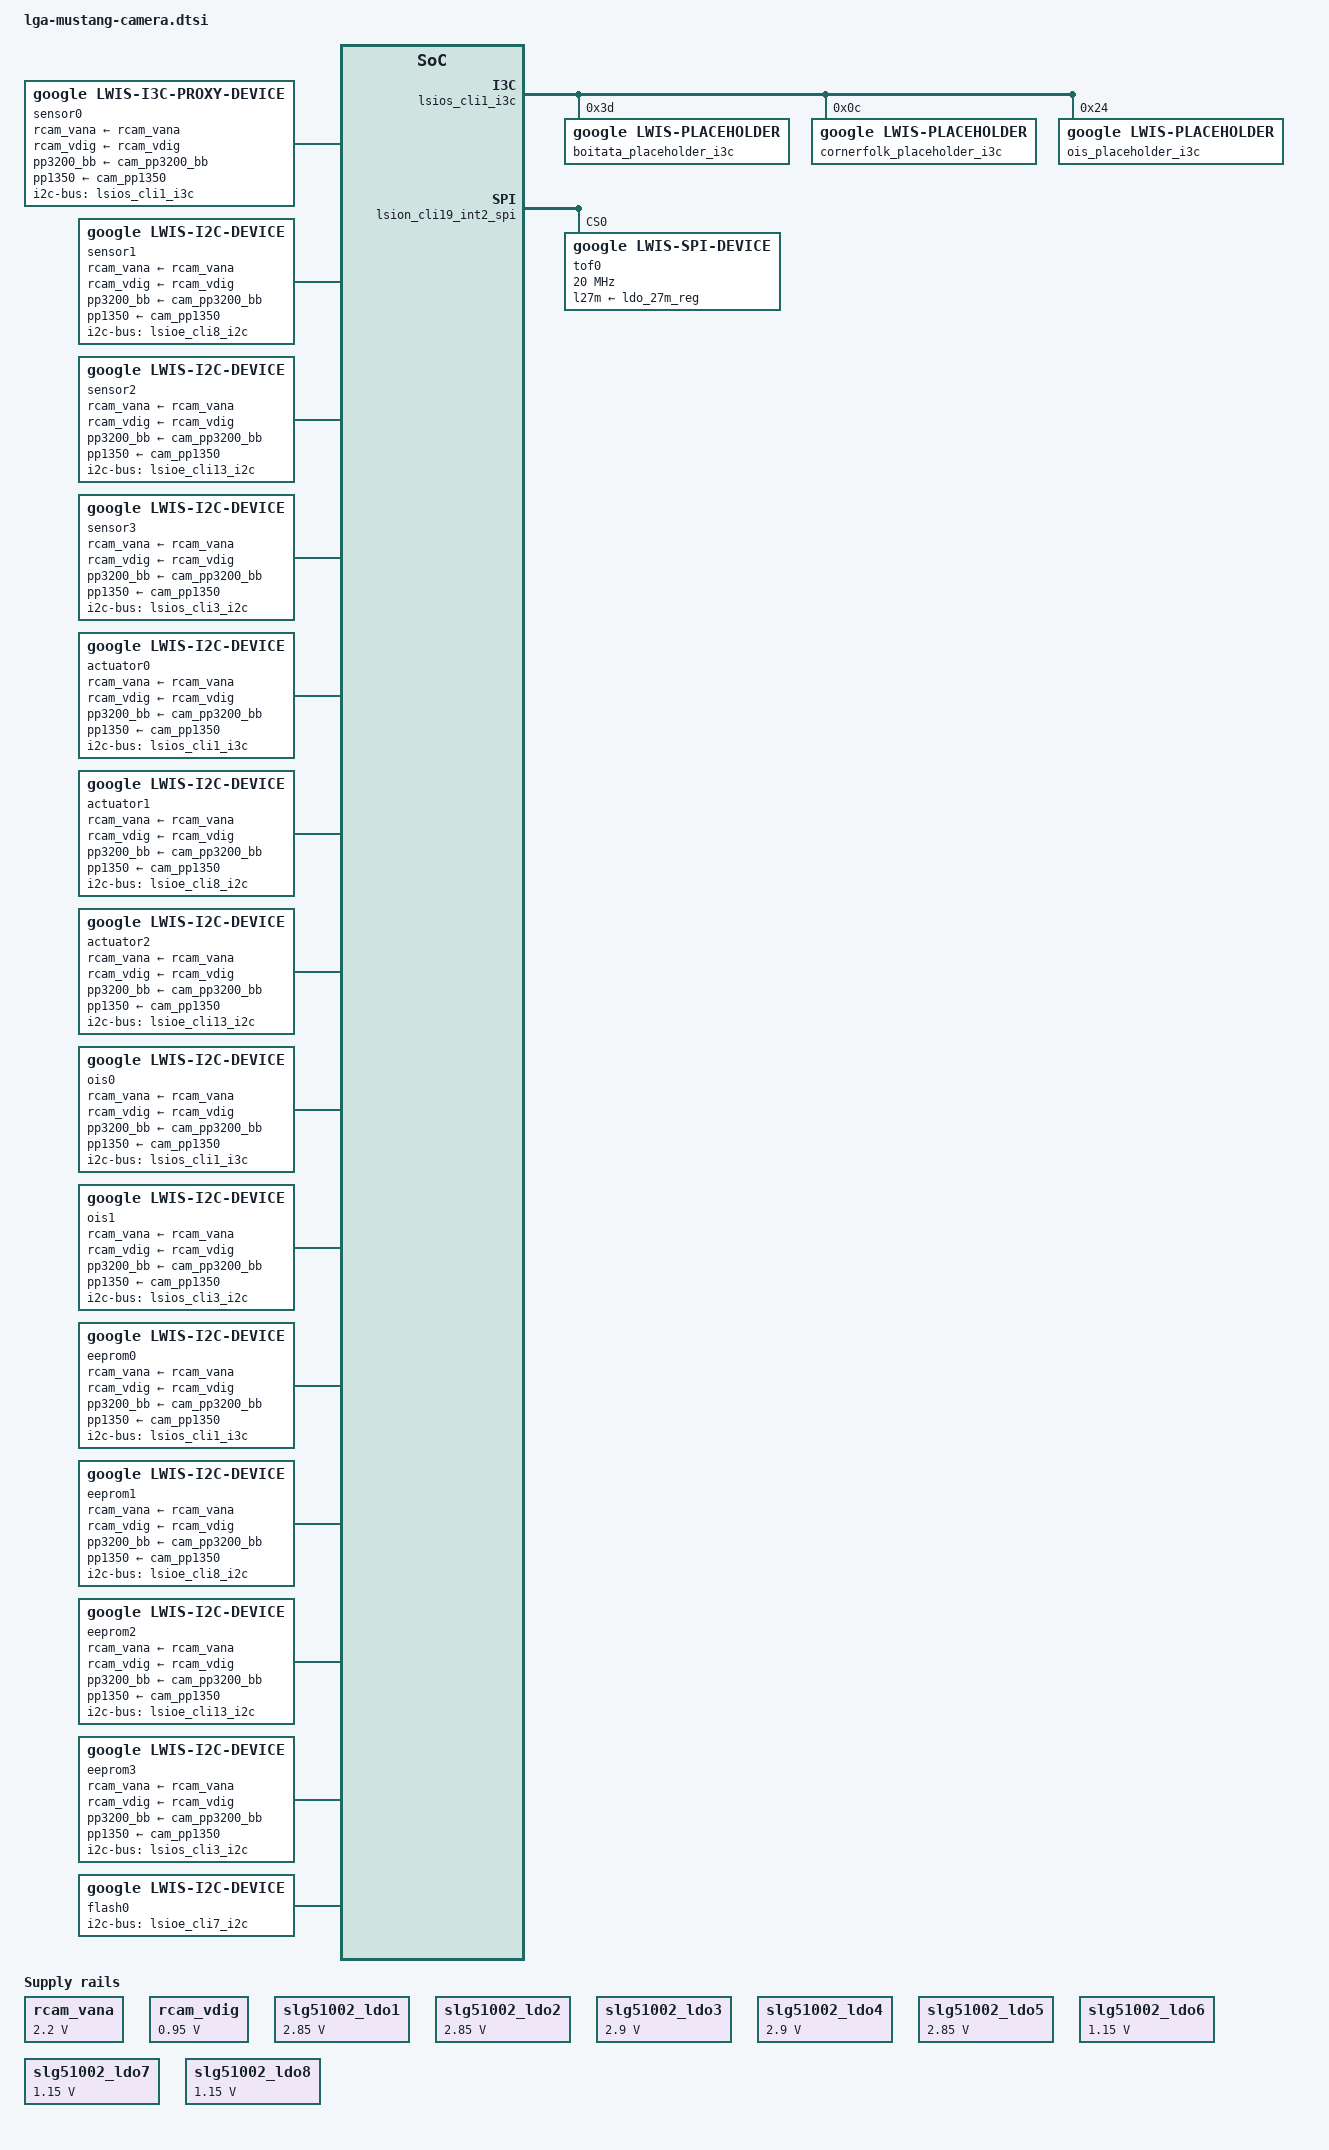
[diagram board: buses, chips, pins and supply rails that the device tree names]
// SPDX-License-Identifier: GPL-2.0-only
/*
 * camera lwis device tree for Mustang
 *
 * Copyright 2024 Google LLC.
 *
 */

#include <dt-bindings/gpio/gpio.h>
#include <dt-bindings/interrupt-controller/irq.h>
#include <dt-bindings/lwis/platform/laguna/tof.h>

&slg51002_ldo1 {
	regulator-min-microvolt = <2850000>;
	regulator-max-microvolt = <2850000>;
};

&slg51002_ldo2 {
	regulator-min-microvolt = <2850000>;
	regulator-max-microvolt = <2850000>;
};

&slg51002_ldo3 {
	regulator-min-microvolt = <2900000>;
	regulator-max-microvolt = <2900000>;
};

&slg51002_ldo4 {
	regulator-min-microvolt = <2900000>;
	regulator-max-microvolt = <2900000>;
};

&slg51002_ldo5 {
	regulator-min-microvolt = <2850000>;
	regulator-max-microvolt = <2850000>;
};

&slg51002_ldo6 {
	regulator-min-microvolt = <1150000>;
	regulator-max-microvolt = <1150000>;
};

&slg51002_ldo7 {
	regulator-min-microvolt = <1150000>;
	regulator-max-microvolt = <1150000>;
};

&slg51002_ldo8 {
	regulator-min-microvolt = <1150000>;
	regulator-max-microvolt = <1150000>;
};

/* Apply different drive strength with BZ5 */

/* REAR ULTRA WIDE CAMERA TAOTIE */
&sensor_mclk1_out {
	drive-strength = <2>;
};
&sensor_mclk1_fn {
	drive-strength = <2>;
};
/* REAR CAMERA BOITATA */
&sensor_mclk2_out {
	drive-strength = <3>;
};
&sensor_mclk2_fn {
	drive-strength = <3>;
};
/* FRONT CAMERA TAOTIE */
&sensor_mclk3_out {
	drive-strength = <2>;
};
&sensor_mclk3_fn {
	drive-strength = <2>;
};
/* REAR TELE CAMERA TAOTIE */
&sensor_mclk6_out {
	drive-strength = <2>;
};
&sensor_mclk6_fn {
	drive-strength = <2>;
};

&lsios_cli1_i3c {
	/* Lwis placeholder for RCAM */
	boitata_placeholder_i3c: boitata_placeholder_i3c@0 {
		compatible = "google,lwis-placeholder";
		/* I2C */
		reg = <0x3D 0x0 0x20>;
	};
	cornerfolk_placeholder_i3c: cornerfolk_placeholder_i3c@0 {
		compatible = "google,lwis-placeholder";
		/* I2C */
		reg = <0xC 0x0 0x20>;
	};
	ois_placeholder_i3c: ois_placeholder_i3c@0 {
		compatible = "google,lwis-placeholder";
		/* I2C */
		reg = <0x24 0x0 0x20>;
	};
};

&lsioe_cli13_i2c {
	i2c-sda-falling-time-ns = <25>;
	i2c-scl-falling-time-ns = <200>;
};

&lsion_cli19_int2_spi {
	google,spi-gpio-cs-with-cpol-high;

	tof0: tof@0 {
		status = "okay";
		compatible = "google,lwis-spi-device";

		/* SPI_CONFIG */
		reg = <0>;
		rx-sample-delay-ns = <25>;
		spi-max-frequency = <20000000>;
		spi-cpol;
		spi-cpha;

		/* Device node name */
		node-name = "tof-tarasque";

		/* Registers */
		reg-addr-bitwidth = <16>;
		reg-value-bitwidth = <8>;

		/* MCLK Control */
		/* LWIS DT parser explicitly requires mclk_on pinctrl */
		pinctrl-names = "default", "mclk_on", "mclk_off";
		pinctrl-0 = <&ldaf2aoc_irq_od_l_1v2>;
		pinctrl-1 = <&ldaf2aoc_irq_od_l_1v2>;
		pinctrl-2 = <>;

		irq-gpios = <LDAF2AOC_IRQ_OD_L_1V2(GPIO_ACTIVE_LOW)>;
		irq-gpios-names = "tof-irq";
		irq-gpios-events = <LWIS_PLATFORM_EVENT_ID_TOF_DATA_POLLING>;
		irq-gpios-types = <IRQ_TYPE_EDGE_FALLING>;

		/* Power supplies */
		/* VADD 3.3V */
		l27m-supply = <&ldo_27m_reg>;

		/* Power up sequence */
		power-up-seqs =
			"l27m",
			"mclk_on";
		power-up-seq-types =
			"regulator",
			"pinctrl";
		power-up-seq-delays-us =
			<0
			 1000>;

		/* Power down sequence */
		power-down-seqs =
			"mclk_off",
			"l27m";
		power-down-seq-types =
			"pinctrl",
			"regulator";
		power-down-seq-delays-us =
			<0
			 0>;

		/* Thread priority */
		/* This is made to be lower than image sensor's thread */
		/* thread priority to allow uninterrupted image sensor */
		/* operation during periods of high CPU contention. */
		transaction-thread-priority = <100>;
	};
};

/ {
	fragment@rcam_supply {
		target-path = "/";
		__overlay__ {
			rcam_vana: rcam_supply@0 {
				compatible = "regulator-fixed";
				status = "okay";
				regulator-name = "PP2200_RCAM_ANA";
				regulator-min-microvolt = <2200000>;
				regulator-max-microvolt = <2200000>;
				/* 1ms */
				regulator-enable-ramp-delay = <1000>;
				enable-active-high;
				/* VANA_EN */
				gpio = <PMICM2RCAM_VANA_EN(GPIO_ACTIVE_HIGH)>;
			};

			rcam_vdig: rcam_supply@1 {
				compatible = "regulator-fixed";
				status = "okay";
				regulator-name = "PP0950_RCAM";
				regulator-min-microvolt = <950000>;
				regulator-max-microvolt = <950000>;
				/* 2ms */
				regulator-enable-ramp-delay = <2000>;
				enable-active-high;
				/* VDIG_EN */
				gpio = <PMICM2RCAM_VDIG_EN(GPIO_ACTIVE_HIGH)>;
			};
		};
	};
};

/ {
	fragment@lwiscamera {
		target-path = "/";
		__overlay__ {
			rear_main_camera_power_seq: module_power_seq@0 {
				/* Common supplies */
				/* PP3200_BB_CAM pp3200_bb */
				/* PP1350_CAM    pp1350 */
				/* Sensor */
				/* VDDIO: ldo_22s_reg */
				/* VDIG: PMICM2RCAM_VDIG_EN */
				/* VDDA: PMICM2RCAM_VANA_EN */
				/* RESET: AP2RCAM_RST_L */
				/* OIS_AVDD: slg51002_ldo4 */
				/* OIS_VM_EN: PMICM2RCAM_OIS_VM_EN */
				/* AF_VM_EN: slg51002_gpio4 */

				power-up-seqs =
					"pp3200_bb",
					"pp1350",
					"rcam_vana",
					"rcam_vdig",
					"vio",
					"ldo4",
					"gpio4",
					"ois_enable",
					"mclk_on",
					"vsync_on",
					"resume";
				power-up-seq-types =
					"regulator",
					"regulator",
					"regulator",
					"regulator",
					"regulator",
					"regulator",
					"regulator",
					"gpio",
					"pinctrl",
					"pinctrl",
					"controller";
				power-up-seq-delays-us =
					<0
					 0
					 0
					 0
					 1000
					 0
					 1000
					 0
					 1000
					 0
					 /* AF need 7.1ms (rounded to 8ms) before I2C stable,
					    added the remaining here */
					 6000>;

				power-down-seqs =
					"suspend",
					"vsync_off",
					"mclk_off",
					"ois_enable",
					"gpio4",
					"ldo4",
					"vio",
					"rcam_vdig",
					"rcam_vana",
					"pp1350",
					"pp3200_bb";
				power-down-seq-types =
					"controller",
					"pinctrl",
					"pinctrl",
					"gpio",
					"regulator",
					"regulator",
					"regulator",
					"regulator",
					"regulator",
					"regulator",
					"regulator";
				power-down-seq-delays-us =
					<0
					 0
					 0
					 1000
					 0
					 1000
					 1000
					 1000
					 0
					 2000
					 2000>;
			};

			rear_uw_camera_power_seq: module_power_seq@2 {
				/* Common supplies */
				/* PP3200_BB_CAM pp3200_bb */
				/* PP1350_CAM    pp1350 */
				/* Sensor */
				/* RCAM_VDIG: PMICM2RCAM_VDIG_EN */
				/* RCAM_VDDA: PMICM2RCAM_VANA_EN */
				/* VDDIO: ldo_22s_reg */
				/* VDIG: slg51002_ldo6 */
				/* VDDA: slg51002_ldo2 */
				/* RESET: AP2RUWCAM_RST_L */
				/* AF_VM_EN: slg51002_gpio4 */

				power-up-seqs =
					"pp3200_bb",
					"pp1350",
					"rcam_vana",
					"rcam_vdig",
					"ldo6",
					"ldo2",
					"vio",
					"gpio4",
					"mclk_on",
					"vsync_on",
					"resume";
				power-up-seq-types =
					"regulator",
					"regulator",
					"regulator",
					"regulator",
					"regulator",
					"regulator",
					"regulator",
					"regulator",
					"pinctrl",
					"pinctrl",
					"controller";
				power-up-seq-delays-us =
					<0
					 0
					 0
					 0
					 0
					 0
					 1000
					 0
					 0
					 0
					 /* AF need 7.1ms (rounded to 8ms) before I2C stable,
					    added the remaining here */
					 8000>;

				power-down-seqs =
					"suspend",
					"vsync_off",
					"mclk_off",
					"gpio4",
					"vio",
					"ldo2",
					"ldo6",
					"rcam_vdig",
					"rcam_vana",
					"pp1350",
					"pp3200_bb";
				power-down-seq-types =
					"controller",
					"pinctrl",
					"pinctrl",
					"regulator",
					"regulator",
					"regulator",
					"regulator",
					"regulator",
					"regulator",
					"regulator",
					"regulator";
				power-down-seq-delays-us =
					<0
					 0
					 0
					 1000
					 0
					 0
					 0
					 1000
					 0
					 2000
					 2000>;
			};

			rear_tele_camera_power_seq: module_power_seq@3 {
				/* Common supplies */
				/* PP3200_BB_CAM pp3200_bb */
				/* PP1350_CAM    pp1350 */
				/* Sensor */
				/* RCAM_VDIG: PMICM2RCAM_VDIG_EN */
				/* RCAM_VDDA: PMICM2RCAM_VANA_EN */
				/* VDDIO: ldo_22s_reg */
				/* VDIG: slg51002_ldo7 */
				/* VDDA: slg51002_ldo5 */
				/* RESET: AP2RTCAM_RST_L */
				/* AF_OIS_AVDD: slg51002_ldo4 */
				/* AF_OIS_VM_EN: slg51002_gpio3 */
				/* OIS_RESET: AP2RTCAM_AF_OIS_RST */

				power-up-seqs =
					"pp3200_bb",
					"pp1350",
					"rcam_vana",
					"rcam_vdig",
					"ldo7",
					"ldo5",
					"vio",
					"ldo4",
					"gpio3",
					"oisreset",
					"mclk_on",
					"vsync_on",
					"resume";
				power-up-seq-types =
					"regulator",
					"regulator",
					"regulator",
					"regulator",
					"regulator",
					"regulator",
					"regulator",
					"regulator",
					"regulator",
					"gpio",
					"pinctrl",
					"pinctrl",
					"controller";
				power-up-seq-delays-us =
					<0
					 0
					 0
					 0
					 0
					 0
					 1000
					 1000
					 1500
					 0
					 0
					 0
					 0>;

				power-down-seqs =
					"suspend",
					"vsync_off",
					"mclk_off",
					"oisreset",
					"gpio3",
					"ldo4",
					"vio",
					"ldo5",
					"ldo7",
					"rcam_vdig",
					"rcam_vana",
					"pp1350",
					"pp3200_bb";
				power-down-seq-types =
					"controller",
					"pinctrl",
					"pinctrl",
					"gpio",
					"regulator",
					"regulator",
					"regulator",
					"regulator",
					"regulator",
					"regulator",
					"regulator",
					"regulator",
					"regulator";
				power-down-seq-delays-us =
					<0
					 0
					 0
					 0
					 1000
					 4000
					 0
					 0
					 0
					 1000
					 0
					 2000
					 2000>;
			};

			front_camera_power_seq: module_power_seq@4 {
				/* Common supplies */
				/* PP3200_BB_CAM     pp3200_bb */
				/* PP1350_CAM        pp1350 */
				/* Sensor */
				/* RCAM_VDIG: PMICM2RCAM_VDIG_EN */
				/* RCAM_VDDA: PMICM2RCAM_VANA_EN */
				/* VDDIO: ldo_22s_reg */
				/* VDIG: slg51002_ldo8 */
				/* VDDA: slg51002_ldo1 */
				/* RESET: AP2FCAM_RST_L */
				/* AF_VM_EN: slg51002_ldo3 */

				power-up-seqs =
					"pp3200_bb",
					"pp1350",
					"rcam_vana",
					"rcam_vdig",
					"ldo1",
					"ldo8",
					"vio",
					"ldo3",
					"reset",
					"mclk_on",
					"vsync_on",
					"resume";
				power-up-seq-types =
					"regulator",
					"regulator",
					"regulator",
					"regulator",
					"regulator",
					"regulator",
					"regulator",
					"regulator",
					"gpio",
					"pinctrl",
					"pinctrl",
					"controller";
				power-up-seq-delays-us =
					<0
					 0
					 0
					 0
					 0
					 0
					 1000
					 0
					 0
					 6000
					 0
					 /* AF need 7.1ms (rounded to 8ms) before I2C stable,
					    added the remaining here */
					 2000>;

				power-down-seqs =
					"suspend",
					"vsync_off",
					"mclk_off",
					"reset",
					"ldo3",
					"vio",
					"ldo8",
					"ldo1",
					"rcam_vdig",
					"rcam_vana",
					"pp1350",
					"pp3200_bb";
				power-down-seq-types =
					"controller",
					"pinctrl",
					"pinctrl",
					"gpio",
					"regulator",
					"regulator",
					"regulator",
					"regulator",
					"regulator",
					"regulator",
					"regulator",
					"regulator";
				power-down-seq-delays-us =
					<0
					 0
					 0
					 0
					 1000
					 0
					 0
					 0
					 1000
					 0
					 2000
					 2000>;
			};

			/* REAR CAMERA BOITATA CSIB */
			sensor0: sensor@0 {
				compatible = "google,lwis-i3c-proxy-device";

				/* Device node name */
				node-name = "sensor-boitata";

				/* I2C */
				i2c-bus = <&lsios_cli1_i3c>;
				i2c-addr = <0x3D>;
				/* I3C */
				i3c-enabled;
				i3c-dcr = <130>;

				/* Registers */
				reg-addr-bitwidth = <16>;
				reg-value-bitwidth = <16>;

				 /* I2C OTP settings (reg, val) */
				i2c-otp-settings =
					<0xFCFC 0x4000
					 0x6012 0x0001
					 0x7002 0x0008
					 0x6014 0x0001>;
				i2c-otp-settle-time = <10000>;

				/* I3C OTP settings (reg, val) */
				i3c-otp-settings =
					<0xFCFC 0x4000
					 0x6012 0x0001
					 0x7002 0x1008
					 0x6066 0x0216
					 0x6068 0x08EF
					 0x6014 0x0001>;
				i3c-otp-settle-time = <10000>;
				/* I3C IBI */
				ibi-max-payload-len = <3>;
				ibi-num-slots = <8>;

				/* GPIOs */
				/* OIS_VM */
				ois_enable-gpios = <PMICM2RCAM_OIS_VM_EN(GPIO_ACTIVE_HIGH)>;
				/* RCAM_RST_L */
				reset-gpios = <AP2RCAM_RST_L(GPIO_ACTIVE_HIGH)>;

				/* Power supplies */
				rcam_vana-supply = <&rcam_vana>;
				rcam_vdig-supply = <&rcam_vdig>;
				pp3200_bb-supply = <&cam_pp3200_bb>;
				pp1350-supply = <&cam_pp1350>;
				vio-supply = <&ldo_22s_reg>;  /* VDDIO */
				ldo4-supply = <&slg51002_ldo4>; /* OIS_AVDD30 */
				gpio4-supply = <&slg51002_gpio4>; /* AF_VM */

				clocks = <&lsios_mclk2_clk>;
				clock-names = "MCLK2";
				clock-rates = <24576000>;

				/* MCLK Control */
				pinctrl-names = "mclk_on", "mclk_off", "vsync_on", "vsync_off";
				pinctrl-0 = <&sensor_mclk2_fn>;
				pinctrl-1 = <&sensor_mclk2_out>;
				pinctrl-2 = <&rcam2ap_vsync>;
				pinctrl-3 = <&rcam2ap_vsync_sleep>;

				/* Power up sequence */
				power-seq = <&rear_main_camera_power_seq>;

				/* resume sequence */
				resume-seqs = "reset";
				resume-seq-types = "gpio";
				resume-seq-delays-us = <7000>;

				/* suspend sequence */
				suspend-seqs = "reset";
				suspend-seq-types = "gpio";
				suspend-seq-delays-us = <0>;

				/* Power up mode */
				lwis,power-up-to-suspend;

				/* Thread priority */
				transaction-thread-priority = <99>;

				i2c-lock-group-id = <0>;
			};

			/* FRONT CAMERA TAOTIE CSIC */
			sensor1: sensor@1 {
				compatible = "google,lwis-i2c-device";

				/* Device node name */
				node-name = "sensor-taotie-front";

				/* I2C */
				i2c-bus = <&lsioe_cli8_i2c>;
				i2c-addr = <0x1A>;

				/* Registers */
				reg-addr-bitwidth = <16>;
				reg-value-bitwidth = <8>;

				/* GPIOs */
				/* XLSIOE_CLI8_PIN2 */
				reset-gpios = <AP2FCAM_RST_L(GPIO_ACTIVE_HIGH)>;

				/* Power supplies */
				rcam_vana-supply = <&rcam_vana>;
				rcam_vdig-supply = <&rcam_vdig>;
				pp3200_bb-supply = <&cam_pp3200_bb>;
				pp1350-supply = <&cam_pp1350>;
				ldo8-supply = <&slg51002_ldo8>; /* VDIG */
				ldo1-supply = <&slg51002_ldo1>; /* VDDA */
				ldo3-supply = <&slg51002_ldo3>; /* AF_VM */
				vio-supply = <&ldo_22s_reg>; /* VDDIO */

				clocks = <&lsios_mclk3_clk>;
				clock-names = "MCLK3";
				clock-rates = <24576000>;

				/* MCLK Control */
				pinctrl-names = "mclk_on", "mclk_off", "vsync_on", "vsync_off";
				pinctrl-0 = <&sensor_mclk3_fn>;
				pinctrl-1 = <&sensor_mclk3_out>;
				pinctrl-2 = <&fcam2ap_vsync>;
				pinctrl-3 = <&fcam2ap_vsync_sleep>;

				/* Power up sequence */
				power-seq = <&front_camera_power_seq>;

				/* Thread priority */
				transaction-thread-priority = <99>;

				i2c-lock-group-id = <1>;
			};

			/* REAR ULTRA WIDE CAMERA TAOTIE CSIA */
			sensor2: sensor@2 {
				compatible = "google,lwis-i2c-device";

				/* Device node name */
				node-name = "sensor-taotie-uw";

				/* I2C */
				i2c-bus = <&lsioe_cli13_i2c>;
				i2c-addr = <0x1A>;

				/* Registers */
				reg-addr-bitwidth = <16>;
				reg-value-bitwidth = <8>;

				/* GPIOs */
				reset-gpios = <AP2RUWCAM_RST_L(GPIO_ACTIVE_HIGH)>;

				/* Power supplies */
				rcam_vana-supply = <&rcam_vana>;
				rcam_vdig-supply = <&rcam_vdig>;
				pp3200_bb-supply = <&cam_pp3200_bb>;
				pp1350-supply = <&cam_pp1350>;
				ldo6-supply = <&slg51002_ldo6>; /* VDIG */
				ldo2-supply = <&slg51002_ldo2>; /* VDDA */
				vio-supply = <&ldo_22s_reg>;
				gpio4-supply = <&slg51002_gpio4>; /* AF_VM */

				clocks = <&lsios_mclk1_clk>;
				clock-names = "MCLK1";
				clock-rates = <24576000>;

				/* MCLK Control */
				pinctrl-names = "mclk_on", "mclk_off", "vsync_on", "vsync_off";
				pinctrl-0 = <&sensor_mclk1_fn>;
				pinctrl-1 = <&sensor_mclk1_out>;
				pinctrl-2 = <&ruwcam2ap_vsync>;
				pinctrl-3 = <&ruwcam2ap_vsync_sleep>;

				/* Power up sequence */
				power-seq = <&rear_uw_camera_power_seq>;

				/* resume sequence */
				resume-seqs = "reset";
				resume-seq-types = "gpio";
				resume-seq-delays-us = <5000>;

				/* suspend sequence */
				suspend-seqs = "reset";
				suspend-seq-types = "gpio";
				suspend-seq-delays-us = <0>;

				/* Power up mode */
				lwis,power-up-to-suspend;

				/* Thread priority */
				transaction-thread-priority = <99>;

				i2c-lock-group-id = <2>;
			};

			/* REAR TELE CAMERA TAOTIE CSIE */
			sensor3: sensor@3 {
				compatible = "google,lwis-i2c-device";

				/* Device node name */
				node-name = "sensor-taotie-tele";

				/* I2C */
				i2c-bus = <&lsios_cli3_i2c>;
				i2c-addr = <0x33>;

				/* Registers */
				reg-addr-bitwidth = <16>;
				reg-value-bitwidth = <8>;

				/* GPIOs */
				/* RTCAM_RST_L(sensor) */
				reset-gpios = <AP2RTCAM_RST_L(GPIO_ACTIVE_HIGH)>;
				/* RTCAM_RST_L(driver) */
				oisreset-gpios = <AP2RTCAM_AF_OIS_RST(GPIO_ACTIVE_HIGH)>;

				/* Power supplies */
				rcam_vana-supply = <&rcam_vana>;
				rcam_vdig-supply = <&rcam_vdig>;
				pp3200_bb-supply = <&cam_pp3200_bb>;
				pp1350-supply = <&cam_pp1350>;
				ldo7-supply = <&slg51002_ldo7>; /* VDIG */
				ldo5-supply = <&slg51002_ldo5>; /* VDDA */
				vio-supply = <&ldo_22s_reg>; /* VDDIO */
				ldo4-supply = <&slg51002_ldo4>; /* AF-OIS_AVDD30 */
				gpio3-supply = <&slg51002_gpio3>; /* AF-OIS_VM */

				clocks = <&lsios_mclk6_clk>;
				clock-names = "MCLK6";
				clock-rates = <24576000>;

				/* MCLK Control */
				pinctrl-names = "mclk_on", "mclk_off", "vsync_on", "vsync_off";
				pinctrl-0 = <&sensor_mclk6_fn>;
				pinctrl-1 = <&sensor_mclk6_out>;
				pinctrl-2 = <&rtcam2ap_vsync>;
				pinctrl-3 = <&rtcam2ap_vsync_sleep>;

				/* Power up sequence */
				power-seq = <&rear_tele_camera_power_seq>;

				/* resume sequence */
				resume-seqs = "reset";
				resume-seq-types = "gpio";
				resume-seq-delays-us = <5000>;

				/* suspend sequence */
				suspend-seqs = "reset";
				suspend-seq-types = "gpio";
				suspend-seq-delays-us = <0>;

				/* Power up mode */
				lwis,power-up-to-suspend;

				/* Thread priority */
				transaction-thread-priority = <99>;

				i2c-lock-group-id = <3>;
			};

			/* Actuator CORNERFOLK for BOITATA */
			actuator0: actuator@0 {
				compatible = "google,lwis-i2c-device";

				/* Device node name */
				node-name = "act-cornerfolk";

				/* I2C */
				i2c-bus = <&lsios_cli1_i3c>;
				i2c-addr = <0xC>;

				/* Registers */
				reg-addr-bitwidth = <8>;
				reg-value-bitwidth = <8>;

				/* GPIOs */
				/* OIS_VM */
				ois_enable-gpios =
					<PMICM2RCAM_OIS_VM_EN(GPIO_ACTIVE_HIGH)>;

				/* Power supplies */
				rcam_vana-supply = <&rcam_vana>;
				rcam_vdig-supply = <&rcam_vdig>;
				pp3200_bb-supply = <&cam_pp3200_bb>;
				pp1350-supply = <&cam_pp1350>;
				vio-supply = <&ldo_22s_reg>;  /* VDDIO */
				ldo4-supply = <&slg51002_ldo4>; /* OIS_AVDD30 */
				gpio4-supply = <&slg51002_gpio4>; /* AF_VM */

				/* MCLK Control */
				pinctrl-names = "mclk_on", "mclk_off", "vsync_on", "vsync_off";
				pinctrl-0 = <&sensor_mclk2_fn>;
				pinctrl-1 = <&sensor_mclk2_out>;
				pinctrl-2 = <&rcam2ap_vsync>;
				pinctrl-3 = <&rcam2ap_vsync_sleep>;

				/* Power up sequence */
				power-seq = <&rear_main_camera_power_seq>;

				/* Thread priority */
				transaction-thread-priority = <99>;

				i2c-lock-group-id = <0>;
			};

			/* Actuator for FRONT CAMERA */
			actuator1: actuator@1 {
				compatible = "google,lwis-i2c-device";

				/* Device node name */
				node-name = "act-cornerfolk-taotie-front";

				/* I2C */
				i2c-bus = <&lsioe_cli8_i2c>;
				i2c-addr = <0xC>;

				/* Registers */
				reg-addr-bitwidth = <8>;
				reg-value-bitwidth = <8>;

				/* GPIOs */
				/* XLSIOE_CLI8_PIN2 */
				reset-gpios = <AP2FCAM_RST_L(GPIO_ACTIVE_HIGH)>;

				/* Power supplies */
				rcam_vana-supply = <&rcam_vana>;
				rcam_vdig-supply = <&rcam_vdig>;
				pp3200_bb-supply = <&cam_pp3200_bb>;
				pp1350-supply = <&cam_pp1350>;
				ldo8-supply = <&slg51002_ldo8>; /* VDIG */
				ldo1-supply = <&slg51002_ldo1>; /* VDDA */
				ldo3-supply = <&slg51002_ldo3>; /* AF_VM */
				vio-supply = <&ldo_22s_reg>; /* VDDIO */

				/* MCLK Control */
				pinctrl-names = "mclk_on", "mclk_off", "vsync_on", "vsync_off";
				pinctrl-0 = <&sensor_mclk3_fn>;
				pinctrl-1 = <&sensor_mclk3_out>;
				pinctrl-2 = <&fcam2ap_vsync>;
				pinctrl-3 = <&fcam2ap_vsync_sleep>;

				/* Power up sequence */
				power-seq = <&front_camera_power_seq>;

				/* Thread priority */
				transaction-thread-priority = <99>;

				i2c-lock-group-id = <1>;
			};

			/* Actuator for REAR ULTRAWIDE CAMERA */
			actuator2: actuator@2 {
				compatible = "google,lwis-i2c-device";

				/* Device node name */
				node-name = "act-cornerfolk-taotie-uw";

				/* I2C */
				i2c-bus = <&lsioe_cli13_i2c>;
				i2c-addr = <0xF>;

				/* Registers */
				reg-addr-bitwidth = <8>;
				reg-value-bitwidth = <8>;

				/* Power supplies */
				rcam_vana-supply = <&rcam_vana>;
				rcam_vdig-supply = <&rcam_vdig>;
				pp3200_bb-supply = <&cam_pp3200_bb>;
				pp1350-supply = <&cam_pp1350>;
				ldo6-supply = <&slg51002_ldo6>; /* VDIG */
				ldo2-supply = <&slg51002_ldo2>; /* VDDA */
				vio-supply = <&ldo_22s_reg>;
				gpio4-supply = <&slg51002_gpio4>; /* AF_VM */

				/* MCLK Control */
				pinctrl-names = "mclk_on", "mclk_off", "vsync_on", "vsync_off";
				pinctrl-0 = <&sensor_mclk1_fn>;
				pinctrl-1 = <&sensor_mclk1_out>;
				pinctrl-2 = <&ruwcam2ap_vsync>;
				pinctrl-3 = <&ruwcam2ap_vsync_sleep>;

				/* Power up sequence */
				power-seq = <&rear_uw_camera_power_seq>;

				/* Thread priority */
				transaction-thread-priority = <99>;

				i2c-lock-group-id = <2>;
			};

			/* OIS DJINN for BOITATA */
			ois0: ois@0 {
				compatible = "google,lwis-i2c-device";

				/* Device node name */
				node-name = "ois-djinn";

				/* I2C */
				i2c-bus = <&lsios_cli1_i3c>;
				i2c-addr = <0x24>;

				/* Registers */
				reg-addr-bitwidth = <16>;
				reg-value-bitwidth = <32>;

				/* GPIOs */
				/* OIS_VM */
				ois_enable-gpios = <PMICM2RCAM_OIS_VM_EN(GPIO_ACTIVE_HIGH)>;

				/* Power supplies */
				rcam_vana-supply = <&rcam_vana>;
				rcam_vdig-supply = <&rcam_vdig>;
				pp3200_bb-supply = <&cam_pp3200_bb>;
				pp1350-supply = <&cam_pp1350>;
				vio-supply = <&ldo_22s_reg>;  /* VDDIO */
				ldo4-supply = <&slg51002_ldo4>; /* OIS_AVDD30 */
				gpio4-supply = <&slg51002_gpio4>; /* AF_VM */

				/* MCLK Control */
				pinctrl-names = "mclk_on", "mclk_off", "vsync_on", "vsync_off";
				pinctrl-0 = <&sensor_mclk2_fn>;
				pinctrl-1 = <&sensor_mclk2_out>;
				pinctrl-2 = <&rcam2ap_vsync>;
				pinctrl-3 = <&rcam2ap_vsync_sleep>;

				/* Power up sequence */
				power-seq = <&rear_main_camera_power_seq>;

				/* Thread priority */
				transaction-thread-priority = <99>;

				i2c-lock-group-id = <0>;
			};

			/* OIS HUMBABA for TELE */
			ois1: ois@1 {
				compatible = "google,lwis-i2c-device";

				/* Device node name */
				node-name = "ois-humbaba";

				/* I2C */
				i2c-bus = <&lsios_cli3_i2c>;
				i2c-addr = <0x61>;

				/* Registers */
				reg-addr-bitwidth = <16>;
				reg-value-bitwidth = <8>;

				/* GPIOs */
				/* RTCAM_RST_L(driver) */
				oisreset-gpios = <AP2RTCAM_AF_OIS_RST(GPIO_ACTIVE_HIGH)>;

				/* Power supplies */
				rcam_vana-supply = <&rcam_vana>;
				rcam_vdig-supply = <&rcam_vdig>;
				pp3200_bb-supply = <&cam_pp3200_bb>;
				pp1350-supply = <&cam_pp1350>;
				ldo7-supply = <&slg51002_ldo7>; /* VDIG */
				ldo5-supply = <&slg51002_ldo5>; /* VDDA */
				vio-supply = <&ldo_22s_reg>; /* VDDIO */
				ldo4-supply = <&slg51002_ldo4>; /* AF-OIS_AVDD30 */
				gpio3-supply = <&slg51002_gpio3>; /* AF-OIS_VM */

				/* MCLK Control */
				pinctrl-names = "mclk_on", "mclk_off", "vsync_on", "vsync_off";
				pinctrl-0 = <&sensor_mclk6_fn>;
				pinctrl-1 = <&sensor_mclk6_out>;
				pinctrl-2 = <&rtcam2ap_vsync>;
				pinctrl-3 = <&rtcam2ap_vsync_sleep>;

				/* Power up sequence */
				power-seq = <&rear_tele_camera_power_seq>;

				/* Thread priority */
				transaction-thread-priority = <99>;

				i2c-lock-group-id = <3>;
			};

			/* EEPROM DJINN for BOITATA */
			eeprom0: eeprom@0 {
				compatible = "google,lwis-i2c-device";

				/* Device node name */
				node-name = "eeprom-djinn";

				/* I2C */
				i2c-bus = <&lsios_cli1_i3c>;
				i2c-addr = <0x24>;

				/* Registers */
				reg-addr-bitwidth = <16>;
				reg-value-bitwidth = <32>;

				/* GPIOs */
				/* OIS_VM */
				ois_enable-gpios = <PMICM2RCAM_OIS_VM_EN(GPIO_ACTIVE_HIGH)>;

				/* Power supplies */
				rcam_vana-supply = <&rcam_vana>;
				rcam_vdig-supply = <&rcam_vdig>;
				pp3200_bb-supply = <&cam_pp3200_bb>;
				pp1350-supply = <&cam_pp1350>;
				vio-supply = <&ldo_22s_reg>;  /* VDDIO */
				ldo4-supply = <&slg51002_ldo4>; /* OIS_AVDD30 */
				gpio4-supply = <&slg51002_gpio4>; /* AF_VM */

				/* MCLK Control */
				pinctrl-names = "mclk_on", "mclk_off", "vsync_on", "vsync_off";
				pinctrl-0 = <&sensor_mclk2_fn>;
				pinctrl-1 = <&sensor_mclk2_out>;
				pinctrl-2 = <&rcam2ap_vsync>;
				pinctrl-3 = <&rcam2ap_vsync_sleep>;

				/* Power up sequence */
				power-seq = <&rear_main_camera_power_seq>;

				/* Thread priority */
				/* Match with other bus devices */
				transaction-thread-priority = <99>;

				i2c-lock-group-id = <0>;
			};

			/* EEPROM SMAUG for TAOTIE Front */
			eeprom1: eeprom@1 {
				compatible = "google,lwis-i2c-device";

				/* Device node name */
				node-name = "eeprom-smaug-taotie-front";

				/* I2C */
				i2c-bus = <&lsioe_cli8_i2c>;
				i2c-addr = <0x51>;

				/* Registers */
				reg-addr-bitwidth = <16>;
				reg-value-bitwidth = <8>;

				/* GPIOs */
				/* XLSIOE_CLI8_PIN2 */
				reset-gpios = <AP2FCAM_RST_L(GPIO_ACTIVE_HIGH)>;

				/* Power supplies */
				rcam_vana-supply = <&rcam_vana>;
				rcam_vdig-supply = <&rcam_vdig>;
				pp3200_bb-supply = <&cam_pp3200_bb>;
				pp1350-supply = <&cam_pp1350>;
				ldo8-supply = <&slg51002_ldo8>; /* VDIG */
				ldo1-supply = <&slg51002_ldo1>; /* VDDA */
				ldo3-supply = <&slg51002_ldo3>; /* AF_VM */
				vio-supply = <&ldo_22s_reg>; /* VDDIO */

				/* MCLK Control */
				pinctrl-names = "mclk_on", "mclk_off", "vsync_on", "vsync_off";
				pinctrl-0 = <&sensor_mclk3_fn>;
				pinctrl-1 = <&sensor_mclk3_out>;
				pinctrl-2 = <&fcam2ap_vsync>;
				pinctrl-3 = <&fcam2ap_vsync_sleep>;

				/* Power up sequence */
				power-seq = <&front_camera_power_seq>;

				/* Thread priority */
				/* Match with other bus devices */
				transaction-thread-priority = <99>;

				i2c-lock-group-id = <1>;
			};

			/* EEPROM SMAUG for UW */
			eeprom2: eeprom@2 {
				compatible = "google,lwis-i2c-device";

				/* Device node name */
				node-name = "eeprom-smaug-taotie-uw";
				/* I2C */
				i2c-bus = <&lsioe_cli13_i2c>;
				i2c-addr = <0x50>;

				/* Registers */
				reg-addr-bitwidth = <16>;
				reg-value-bitwidth = <8>;

				/* Power supplies */
				rcam_vana-supply = <&rcam_vana>;
				rcam_vdig-supply = <&rcam_vdig>;
				pp3200_bb-supply = <&cam_pp3200_bb>;
				pp1350-supply = <&cam_pp1350>;
				ldo6-supply = <&slg51002_ldo6>; /* VDIG */
				ldo2-supply = <&slg51002_ldo2>; /* VDDA */
				vio-supply = <&ldo_22s_reg>;
				gpio4-supply = <&slg51002_gpio4>; /* AF_VM */

				/* MCLK Control */
				pinctrl-names = "mclk_on", "mclk_off", "vsync_on", "vsync_off";
				pinctrl-0 = <&sensor_mclk1_fn>;
				pinctrl-1 = <&sensor_mclk1_out>;
				pinctrl-2 = <&ruwcam2ap_vsync>;
				pinctrl-3 = <&ruwcam2ap_vsync_sleep>;

				/* Power up sequence */
				power-seq = <&rear_uw_camera_power_seq>;

				/* Thread priority */
				/* Match with other bus devices */
				transaction-thread-priority = <99>;

				i2c-lock-group-id = <2>;
			};

			/* EEPROM HUMBABA for TELE */
			eeprom3: eeprom@3 {
				compatible = "google,lwis-i2c-device";

				/* Device node name */
				node-name = "eeprom-humbaba";

				/* I2C */
				i2c-bus = <&lsios_cli3_i2c>;
				i2c-addr = <0x61>;

				/* Registers */
				reg-addr-bitwidth = <16>;
				reg-value-bitwidth = <8>;

				/* GPIOs */
				/* RTCAM_RST_L(driver) */
				oisreset-gpios = <AP2RTCAM_AF_OIS_RST(GPIO_ACTIVE_HIGH)>;

				/* Power supplies */
				rcam_vana-supply = <&rcam_vana>;
				rcam_vdig-supply = <&rcam_vdig>;
				pp3200_bb-supply = <&cam_pp3200_bb>;
				pp1350-supply = <&cam_pp1350>;
				ldo7-supply = <&slg51002_ldo7>; /* VDIG */
				ldo5-supply = <&slg51002_ldo5>; /* VDDA */
				vio-supply = <&ldo_22s_reg>; /* VDDIO */
				ldo4-supply = <&slg51002_ldo4>; /* AF-OIS_AVDD30 */
				gpio3-supply = <&slg51002_gpio3>; /* AF-OIS_VM */

				/* MCLK Control */
				pinctrl-names = "mclk_on", "mclk_off", "vsync_on", "vsync_off";
				pinctrl-0 = <&sensor_mclk6_fn>;
				pinctrl-1 = <&sensor_mclk6_out>;
				pinctrl-2 = <&rtcam2ap_vsync>;
				pinctrl-3 = <&rtcam2ap_vsync_sleep>;

				/* Power up sequence */
				power-seq = <&rear_tele_camera_power_seq>;

				/* Thread priority */
				/* Match with other bus devices */
				transaction-thread-priority = <99>;

				i2c-lock-group-id = <3>;
			};

			flash0: flash@0 {
				compatible = "google,lwis-i2c-device";

				/* Device node name */
				node-name = "flash-lm3644";

				/* I2C */
				i2c-bus = <&lsioe_cli7_i2c>;
				i2c-addr = <0x63>;

				/* Registers */
				reg-addr-bitwidth = <8>;
				reg-value-bitwidth = <8>;

				/* GPIOs */
				/* AP2FLASH_EN */
				enable-gpios = <AP2FLASH_EN(GPIO_ACTIVE_HIGH)>;

				power-up-seqs = "enable";
				power-up-seq-types = "gpio";
				power-up-seq-delays-us = <0>;

				power-down-seqs = "enable";
				power-down-seq-types = "gpio";
				power-down-seq-delays-us = <0>;
			};
		};
	};
};
